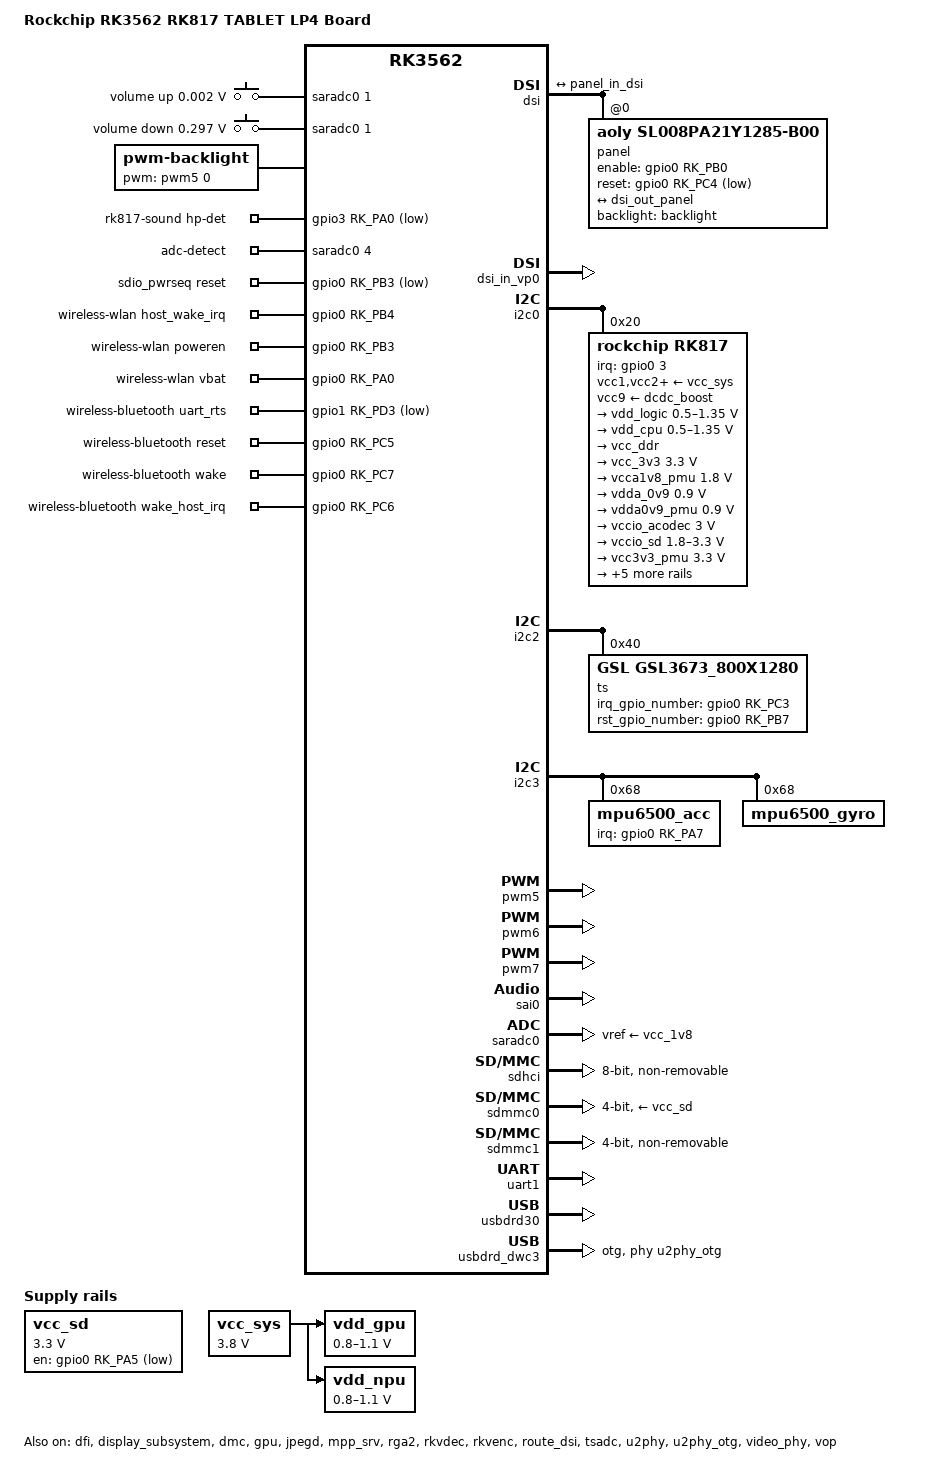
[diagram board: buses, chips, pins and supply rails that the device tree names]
// SPDX-License-Identifier: (GPL-2.0+ OR MIT)
/*
 * Copyright (c) 2022 Rockchip Electronics Co., Ltd.
 *
 */

/dts-v1/;

#include <dt-bindings/gpio/gpio.h>
#include <dt-bindings/pinctrl/rockchip.h>
#include <dt-bindings/input/rk-input.h>
#include <dt-bindings/sensor-dev.h>
#include <dt-bindings/display/drm_mipi_dsi.h>
#include "dt-bindings/usb/pd.h"
#include "rk3562.dtsi"
#include "rk3562-android.dtsi"
#include "rk3562-rk817-tablet-camera.dtsi"

/ {
	model = "Rockchip RK3562 RK817 TABLET LP4 Board";
	compatible = "rockchip,rk3562-rk817-tablet", "rockchip,rk3562";

	adc_keys: adc-keys {
		compatible = "adc-keys";
		io-channels = <&saradc0 1>;
		io-channel-names = "buttons";
		keyup-threshold-microvolt = <1800000>;
		poll-interval = <100>;

		vol-up-key {
			label = "volume up";
			linux,code = <KEY_VOLUMEUP>;
			press-threshold-microvolt = <1750>;
		};

		vol-down-key {
			label = "volume down";
			linux,code = <KEY_VOLUMEDOWN>;
			press-threshold-microvolt = <297500>;
		};
	};

	backlight: backlight {
		compatible = "pwm-backlight";
		pwms = <&pwm5 0 25000 0>;
		brightness-levels = <
			  0  20  20  21  21  22  22  23
			 23  24  24  25  25  26  26  27
			 27  28  28  29  29  30  30  31
			 31  32  32  33  33  34  34  35
			 35  36  36  37  37  38  38  39
			 40  41  42  43  44  45  46  47
			 48  49  50  50  51  52  53  54
			 55  55  56  57  58  59  60  61
			 62  63  64  64  65  65  66  67
			 68  69  70  71  71  72  73  74
			 75  76  77  78  79  79  80  81
			 82  83  84  85  86  86  87  88
			 89  90  91  92  93  94  94  95
			 96  97  98  99 100 101 101 102
			103 104 105 106 107 107 108 109
			110 111 112 113 114 115 115 116
			117 118 119 120 121 122 123 123
			124 125 126 127 128 129 130 130
			131 132 133 134 135 136 136 137
			138 139 140 141 142 143 143 144
			145 146 147 147 148 149 150 151
			152 153 154 155 156 156 157 158
			159 157 158 159 160 161 162 162
			163 164 165 166 167 168 169 169
			170 171 172 173 174 175 175 176
			177 178 179 180 181 182 182 183
			184 185 186 187 188 189 190 190
			191 192 193 194 195 196 197 197
			198 199 200 201 202 203 204 204
			205 206 207 208 209 209 210 211
			212 213 213 214 214 215 215 216
			216 217 217 218 218 219 219 220
		>;
		default-brightness-level = <200>;
	};

	charge-animation {
		compatible = "rockchip,uboot-charge";
		rockchip,uboot-charge-on = <1>;
		rockchip,android-charge-on = <0>;
		rockchip,uboot-low-power-voltage = <3350>;
		rockchip,screen-on-voltage = <3400>;
		status = "okay";
	};

	rk817-sound {
		compatible = "rockchip,multicodecs-card";
		rockchip,card-name = "rockchip-rk817";
		hp-det-gpio = <&gpio3 RK_PA0 GPIO_ACTIVE_LOW>;
		io-channels = <&saradc0 4>;
		io-channel-names = "adc-detect";
		keyup-threshold-microvolt = <1800000>;
		poll-interval = <100>;
		rockchip,format = "i2s";
		rockchip,mclk-fs = <256>;
		rockchip,cpu = <&sai0>;
		rockchip,codec = <&rk817_codec>;
		pinctrl-names = "default";
		pinctrl-0 = <&hp_det>;
		play-pause-key {
			label = "playpause";
			linux,code = <KEY_PLAYPAUSE>;
			press-threshold-microvolt = <2000>;
		};
	};

	sdio_pwrseq: sdio-pwrseq {
		compatible = "mmc-pwrseq-simple";
		clocks = <&rk817 1>;
		clock-names = "ext_clock";
		pinctrl-names = "default";
		pinctrl-0 = <&wifi_enable_h>;

		/*
		 * On the module itself this is one of these (depending
		 * on the actual card populated):
		 * - SDIO_RESET_L_WL_REG_ON
		 * - PDN (power down when low)
		 */
		post-power-on-delay-ms = <200>;
		reset-gpios = <&gpio0 RK_PB3 GPIO_ACTIVE_LOW>;
	};

	vcc_sd: vcc-sd {
		compatible = "regulator-gpio";
		enable-active-low;
		enable-gpio = <&gpio0 RK_PA5 GPIO_ACTIVE_LOW>;
		regulator-min-microvolt = <3300000>;
		regulator-max-microvolt = <3300000>;
		pinctrl-names = "default";
		pinctrl-0 = <&vcc_sd_h>;
		regulator-name = "vcc_sd";
		states = <3300000 0x0
			  3300000 0x1>;
	};

	vcc_sys: vcc-sys {
		compatible = "regulator-fixed";
		regulator-name = "vcc_sys";
		regulator-always-on;
		regulator-boot-on;
		regulator-min-microvolt = <3800000>;
		regulator-max-microvolt = <3800000>;
	};

	vdd_gpu: vdd-gpu {
		compatible = "pwm-regulator";
		pwms = <&pwm7 0 5000 1>;
		regulator-name = "vdd_gpu";
		regulator-min-microvolt = <800000>;
		regulator-max-microvolt = <1100000>;
		regulator-init-microvolt = <900000>;
		regulator-always-on;
		regulator-boot-on;
		regulator-settling-time-up-us = <250>;
		pwm-supply = <&vcc_sys>;
		status = "okay";
	};

	vdd_npu: vdd-npu {
		compatible = "pwm-regulator";
		pwms = <&pwm6 0 5000 1>;
		regulator-name = "vdd_npu";
		regulator-min-microvolt = <800000>;
		regulator-max-microvolt = <1100000>;
		regulator-init-microvolt = <900000>;
		regulator-always-on;
		regulator-boot-on;
		regulator-settling-time-up-us = <250>;
		pwm-supply = <&vcc_sys>;
		status = "okay";
	};

	wireless-wlan {
		compatible = "wlan-platdata";
		rockchip,grf = <&sys_grf>;
		wifi_chip_type = "ap6255";
		pinctrl-names = "default";
		pinctrl-0 = <&wifi_host_wake_irq>;
		WIFI,host_wake_irq = <&gpio0 RK_PB4 GPIO_ACTIVE_HIGH>;
		WIFI,poweren_gpio = <&gpio0 RK_PB3 GPIO_ACTIVE_HIGH>;
		WIFI,vbat_gpio = <&gpio0 RK_PA0 GPIO_ACTIVE_HIGH>;
		status = "okay";
	};

	wireless-bluetooth {
		compatible = "bluetooth-platdata";
		clocks = <&rk817 1>;
		clock-names = "ext_clock";
		//wifi-bt-power-toggle;
		uart_rts_gpios = <&gpio1 RK_PD3 GPIO_ACTIVE_LOW>;
		pinctrl-names = "default", "rts_gpio";
		pinctrl-0 = <&uart1m0_rtsn>;
		pinctrl-1 = <&uart1_gpios>;
		BT,reset_gpio    = <&gpio0 RK_PC5 GPIO_ACTIVE_HIGH>;
		BT,wake_gpio     = <&gpio0 RK_PC7 GPIO_ACTIVE_HIGH>;
		BT,wake_host_irq = <&gpio0 RK_PC6 GPIO_ACTIVE_HIGH>;
		status = "okay";
	};
};

&cpu0 {
	cpu-supply = <&vdd_cpu>;
};

&bus_soc {
	rockchip,soc-bus-table = <0 0x00a000a8 0x7001>,
				 <1 0x00a000a8 0x7c39>,
				 <2 0x00a000a8 0x7c39>,
				 <3 0x00a000a8 0x7c39>,
				 <4 0x00a000a5 0xb007>,
				 <5 0x00a000a8 0x7034>,
				 <6 0x00a000a8 0x7034>,
				 <7 0x00a000a8 0x7034>,
				 <8 0x00a000a8 0x7001>;
};

&dfi {
	status = "okay";
};

&display_subsystem {
	status = "okay";
};

&dmc {
	center-supply = <&vdd_logic>;
	status = "okay";
};

&dsi {
	status = "okay";

	panel@0 {
		compatible = "aoly,sl008pa21y1285-b00", "simple-panel-dsi";
		reg = <0>;

		backlight = <&backlight>;
		//power-supply=<&vcc_3v3>;
		enable-gpios = <&gpio0 RK_PB0 GPIO_ACTIVE_HIGH>;
		reset-gpios = <&gpio0 RK_PC4 GPIO_ACTIVE_LOW>;

		pinctrl-names = "default";
		pinctrl-0 = <&lcd_enable_gpio>, <&lcd_rst_gpio>;

		prepare-delay-ms = <20>;
		reset-delay-ms = <20>;
		init-delay-ms = <20>;
		enable-delay-ms = <120>;
		disable-delay-ms = <20>;
		unprepare-delay-ms = <20>;

		width-mm = <135>;
		height-mm = <216>;

		dsi,flags = <(MIPI_DSI_MODE_VIDEO | MIPI_DSI_MODE_VIDEO_BURST |
			      MIPI_DSI_MODE_LPM | MIPI_DSI_MODE_EOT_PACKET)>;
		dsi,format = <MIPI_DSI_FMT_RGB888>;
		dsi,lanes = <4>;

		panel-init-sequence = [
			15 00 02 E0 00
			//--- PASSWORD  ----//
			15 00 02 E1 93
			15 00 02 E2 65
			15 00 02 E3 F8
			15 00 02 80 03
			//--- Page1  ----//
			15 00 02 E0 01
			//Set VCOM
			15 00 02 00 00
			15 00 02 01 3B
			//Set VCOM_Reverse
			//15 00 02 03 00
			//15 00 02 04 A0
			15 00 02 0C 74
			//Set Gamma Power, VGMP,VGMN,VGSP,VGSN
			15 00 02 17 00
			15 00 02 18 AF  //VGMP=4.8V
			15 00 02 19 00  //VGSP=0.3V
			15 00 02 1A 00
			15 00 02 1B AF
			15 00 02 1C 00
			//SETPANEL
			15 00 02 35 26	//ASP=0110
			//SETPANEL
			15 00 02 37 09	//SS=1,BGR=1
			//SET RGBCYC
			15 00 02 38 04	//JDT=100 column inversion
			15 00 02 39 00	//RGB_N_EQ1, 0x12
			15 00 02 3A 01	//RGB_N_EQ2, 0x18
			15 00 02 3C 78	//SET EQ3 for TE_H
			15 00 02 3D FF	//SET CHGEN_ON,
			15 00 02 3E FF	//SET CHGEN_OFF,
			15 00 02 3F 7F	//SET CHGEN_OFF2,
			//Set TCON
			15 00 02 40 06	//RSO=800 RGB
			15 00 02 41 A0	//LN=640->1280 line
			15 00 02 42 81	//SLT
			15 00 02 43 14	//VFP=20
			15 00 02 44 23	//VBP=24
			15 00 02 45 28  //HBP=40
			//--- power voltage  ----//
			15 00 02 55 02	//DCDCM=0001, JD PWR_IC
			15 00 02 57 69
			15 00 02 59 0A	//VCL = -2.9V
			15 00 02 5A 2A	//VGH = 15V
			15 00 02 5B 17	//VGL = -11V
			//--- Gamma  ----//
			15 00 02 5D 7F
			15 00 02 5E 6B
			15 00 02 5F 5C
			15 00 02 60 4F
			15 00 02 61 4D
			15 00 02 62 3F
			15 00 02 63 42
			15 00 02 64 2B
			15 00 02 65 44
			15 00 02 66 43
			15 00 02 67 43
			15 00 02 68 63
			15 00 02 69 52
			15 00 02 6A 5A
			15 00 02 6B 4F
			15 00 02 6C 4E
			15 00 02 6D 20
			15 00 02 6E 0F
			15 00 02 6F 00
			15 00 02 70 7F
			15 00 02 71 6B
			15 00 02 72 5C
			15 00 02 73 4F
			15 00 02 74 4D
			15 00 02 75 3F
			15 00 02 76 42
			15 00 02 77 2B
			15 00 02 78 44
			15 00 02 79 43
			15 00 02 7A 43
			15 00 02 7B 63
			15 00 02 7C 52
			15 00 02 7D 5A
			15 00 02 7E 4F
			15 00 02 7F 4E
			15 00 02 80 20
			15 00 02 81 0F
			15 00 02 82 00
			//Page2, for GIP
			15 00 02 E0 02
			//GIP_L Pin mapping
			15 00 02 00 02  //STV3	->	STV2
			15 00 02 01 02	//Stv3	->	STV2
			15 00 02 02 00	//STV4	->	STV0
			15 00 02 03 00	//STV4	->	STV0
			15 00 02 04 1E	//VDS	->	VGH
			15 00 02 05 1E	//VDS	->	VGH
			15 00 02 06 1F	//VSD	->	VGL
			15 00 02 07 1F	//VSD	->	VGL
			15 00 02 08 1F
			15 00 02 09 17	//VDD2	->	FLM
			15 00 02 0A 17	//VDD2	->	FLM
			15 00 02 0B 37	//VDD1	->	INV_FLM
			15 00 02 0C 37	//VDD1	->	INV_FLM
			15 00 02 0D 47	//CLK8	->	CLK3
			15 00 02 0E 47	//CLK8	->	CLK3
			15 00 02 0F 45	//CLK6	->	CLK1
			15 00 02 10 45	//CLK6	->	CLK1
			15 00 02 11 4B	//CLK4	->	CLK7
			15 00 02 12 4B	//CLK4	->	CLK7
			15 00 02 13 49	//CLK2	->	CLK5
			15 00 02 14 49	//CLK2	->	CLK5
			15 00 02 15 1F	//VGL
			//GIP_R Pin mapping
			15 00 02 16 01	//STV1	->	STV1
			15 00 02 17 01	//STV1	->	STV1
			15 00 02 18 00	//STV2	->	STV0
			15 00 02 19 00	//STV2	->	STV0
			15 00 02 1A 1E	//VDS	->	VGH
			15 00 02 1B 1E	//VDS	->	VGH
			15 00 02 1C 1F	//VSD	->	VGL
			15 00 02 1D 1F	//VSD	->	VGL
			15 00 02 1E 1F
			15 00 02 1F 17	//VDD2	->	FLM
			15 00 02 20 17	//VDD2	->	FLM
			15 00 02 21 37	//VDD1	->	INV_FLM
			15 00 02 22 37	//VDD1	->	INV_FLM
			15 00 02 23 46	//CLK7	->	CLK2
			15 00 02 24 46	//CLK7	->	CLK2
			15 00 02 25 44	//CLK5	->	CLK0
			15 00 02 26 44	//CLK5	->	CLK0
			15 00 02 27 4A	//CLK3	->	CLK6
			15 00 02 28 4A	//CLK3	->	CLK6
			15 00 02 29 48	//CLK1	->	CLK4
			15 00 02 2A 48	//CLK1	->	CLK4
			15 00 02 2B 1F	//VGL
			//GIP_L_GS Pin mapping
			15 00 02 2C 01	//STV3	->	STV1
			15 00 02 2D 01
			15 00 02 2E 00	//STV4	->	STV0
			15 00 02 2F 00
			15 00 02 30 1F	//VDS	->	VGL
			15 00 02 31 1F
			15 00 02 32 1E	//VSD	->	VGH
			15 00 02 33 1E
			15 00 02 34 1F	//
			15 00 02 35 17	//VDD2	->	FLM
			15 00 02 36 17
			15 00 02 37 37	//VDD1	->	INV_FLM
			15 00 02 38 37
			15 00 02 39 08	//CLK8	->	CLK4
			15 00 02 3A 08
			15 00 02 3B 0A	//CLK6	->	CLK6
			15 00 02 3C 0A
			15 00 02 3D 04	//CLK4	->	CLK0
			15 00 02 3E 04
			15 00 02 3F 06	//CLK2	->	CLK2
			15 00 02 40 06
			15 00 02 41 1F	//VGL
			//GIP_R_GS Pin mapping
			15 00 02 42 02	//STV1	->	STV2
			15 00 02 43 02
			15 00 02 44 00	//STV2	->	STV0
			15 00 02 45 00
			15 00 02 46 1F	//VDS	->	VGL
			15 00 02 47 1F
			15 00 02 48 1E	//VSD	->	VGH
			15 00 02 49 1E
			15 00 02 4A 1F	//
			15 00 02 4B 17	//VDD2	->	FLM
			15 00 02 4C 17
			15 00 02 4D 37	//VDD1	->	INV_FLM
			15 00 02 4E 37
			15 00 02 4F 09	//CLK7	->	CLK5
			15 00 02 50 09
			15 00 02 51 0B	//CLK5	->	CLK7
			15 00 02 52 0B
			15 00 02 53 05	//CLK3	->	CLK1
			15 00 02 54 05
			15 00 02 55 07	//CLK1	->	CLK3
			15 00 02 56 07
			15 00 02 57 1F	//VGL
			//GIP Timing
			15 00 02 58 40
			15 00 02 5B 30  //STV_NUM,STV_S0
			15 00 02 5C 16  //STV_S0
			15 00 02 5D 34  //STV_W / S1
			15 00 02 5E 05  //STV_S2
			15 00 02 5F 02  //STV_S3
			15 00 02 63 00  //SETV_ON
			15 00 02 64 6A  //SETV_OFF
			15 00 02 67 73
			15 00 02 68 1D  //CKV_S0
			15 00 02 69 08
			15 00 02 6A 6A
			15 00 02 6B 08  //Dummy clk
			15 00 02 6C 00
			15 00 02 6D 00
			15 00 02 6E 00
			15 00 02 6F 88
			15 00 02 75 FF
			15 00 02 77 DD  //VEN_EN=1
			15 00 02 78 3F
			15 00 02 79 15  //0x0C
			15 00 02 7A 17  //VEN_S0
			15 00 02 7D 14  //VEN_ON
			15 00 02 7E 82  //VEN_OFF
			//Page4
			15 00 02 E0 04
			15 00 02 00 0E
			15 00 02 02 B3
			15 00 02 09 61
			15 00 02 0E 48
			//Page0
			15 00 02 E0 00
			15 00 02 E6 02
			15 00 02 E7 0C
			05 78 01 11
			05 64 01 29
		];

		panel-exit-sequence = [
			05 01 01 28
			05 03 01 10
		];

		display-timings {
			native-mode = <&timing0>;

			timing0: timing0 {
				clock-frequency = <70000000>;
				hactive = <800>;
				vactive = <1280>;

				hfront-porch = <40>;
				hsync-len = <20>;
				hback-porch = <20>;

				vfront-porch = <20>;
				vsync-len = <4>;
				vback-porch = <20>;

				hsync-active = <0>;
				vsync-active = <0>;
				de-active = <0>;
				pixelclk-active = <1>;
			};
		};

		ports {
			#address-cells = <1>;
			#size-cells = <0>;

			port@0 {
				reg = <0>;
				panel_in_dsi: endpoint {
					remote-endpoint = <&dsi_out_panel>;
				};
			};
		};
	};

	ports {
		#address-cells = <1>;
		#size-cells = <0>;

		port@1 {
			reg = <1>;
			dsi_out_panel: endpoint {
				remote-endpoint = <&panel_in_dsi>;
			};
		};
	};

};

&dsi_in_vp0 {
	status = "okay";
};

&gpu {
	mali-supply = <&vdd_gpu>;
	status = "okay";
};

&i2c0 {
	status = "okay";

	rk817: pmic@20 {
		compatible = "rockchip,rk817";
		reg = <0x20>;
		interrupt-parent = <&gpio0>;
		interrupts = <3 IRQ_TYPE_LEVEL_LOW>;

		pinctrl-names = "default", "pmic-sleep",
			"pmic-power-off", "pmic-reset";
		pinctrl-0 = <&pmic_int>;
		pinctrl-1 = <&soc_slppin_slp>, <&rk817_slppin_slp>;
		pinctrl-2 = <&soc_slppin_gpio>, <&rk817_slppin_pwrdn>;
		pinctrl-3 = <&soc_slppin_gpio>, <&rk817_slppin_rst>;
		rockchip,system-power-controller;
		wakeup-source;
		#clock-cells = <1>;
		clock-output-names = "rk808-clkout1", "rk808-clkout2";
		/* 1: rst regs (default in codes), 0: rst the pmic */
		pmic-reset-func = <0>;
		vcc1-supply = <&vcc_sys>;
		vcc2-supply = <&vcc_sys>;
		vcc3-supply = <&vcc_sys>;
		vcc4-supply = <&vcc_sys>;
		vcc5-supply = <&vcc_sys>;
		vcc6-supply = <&vcc_sys>;
		vcc7-supply = <&vcc_sys>;
		vcc8-supply = <&vcc_sys>;
		vcc9-supply = <&dcdc_boost>;
		pwrkey {
			status = "okay";
		};

		pinctrl_rk8xx: pinctrl_rk8xx {
			gpio-controller;
			#gpio-cells = <2>;

			rk817_slppin_null: rk817_slppin_null {
				pins = "gpio_slp";
				function = "pin_fun0";
			};

			rk817_slppin_slp: rk817_slppin_slp {
				pins = "gpio_slp";
				function = "pin_fun1";
			};

			rk817_slppin_pwrdn: rk817_slppin_pwrdn {
				pins = "gpio_slp";
				function = "pin_fun2";
			};

			rk817_slppin_rst: rk817_slppin_rst {
				pins = "gpio_slp";
				function = "pin_fun3";
			};
		};

		regulators {
			vdd_logic: DCDC_REG1 {
				regulator-always-on;
				regulator-boot-on;
				regulator-min-microvolt = <500000>;
				regulator-max-microvolt = <1350000>;
				regulator-init-microvolt = <900000>;
				regulator-ramp-delay = <6001>;
				regulator-initial-mode = <0x2>;
				regulator-name = "vdd_logic";
				regulator-state-mem {
					regulator-off-in-suspend;
					regulator-suspend-microvolt = <900000>;
				};
			};

			vdd_cpu: DCDC_REG2 {
				regulator-always-on;
				regulator-boot-on;
				regulator-min-microvolt = <500000>;
				regulator-max-microvolt = <1350000>;
				regulator-init-microvolt = <900000>;
				regulator-ramp-delay = <6001>;
				regulator-initial-mode = <0x2>;
				regulator-name = "vdd_cpu";
				regulator-state-mem {
					regulator-off-in-suspend;
				};
			};

			vcc_ddr: DCDC_REG3 {
				regulator-always-on;
				regulator-boot-on;
				regulator-initial-mode = <0x2>;
				regulator-name = "vcc_ddr";
				regulator-state-mem {
					regulator-on-in-suspend;
				};
			};

			vcc_3v3: DCDC_REG4 {
				regulator-always-on;
				regulator-boot-on;
				regulator-min-microvolt = <3300000>;
				regulator-max-microvolt = <3300000>;
				regulator-initial-mode = <0x2>;
				regulator-name = "vcc_3v3";
				regulator-state-mem {
					regulator-on-in-suspend;
					regulator-suspend-microvolt = <3300000>;
				};
			};

			vcca1v8_pmu: LDO_REG1 {
				regulator-always-on;
				regulator-boot-on;
				regulator-min-microvolt = <1800000>;
				regulator-max-microvolt = <1800000>;
				regulator-name = "vcca1v8_pmu";
				regulator-state-mem {
					regulator-on-in-suspend;
					regulator-suspend-microvolt = <1800000>;
				};
			};

			vdda_0v9: LDO_REG2 {
				regulator-always-on;
				regulator-boot-on;
				regulator-min-microvolt = <900000>;
				regulator-max-microvolt = <900000>;
				regulator-name = "vdda_0v9";
				regulator-state-mem {
					regulator-off-in-suspend;
				};
			};

			vdda0v9_pmu: LDO_REG3 {
				regulator-always-on;
				regulator-boot-on;
				regulator-min-microvolt = <900000>;
				regulator-max-microvolt = <900000>;
				regulator-name = "vdda0v9_pmu";
				regulator-state-mem {
					regulator-on-in-suspend;
					regulator-suspend-microvolt = <900000>;
				};
			};

			vccio_acodec: LDO_REG4 {
				regulator-always-on;
				regulator-boot-on;
				regulator-min-microvolt = <3000000>;
				regulator-max-microvolt = <3000000>;
				regulator-name = "vccio_acodec";
				regulator-state-mem {
					regulator-off-in-suspend;
				};
			};

			vccio_sd: LDO_REG5 {
				regulator-always-on;
				regulator-boot-on;
				regulator-min-microvolt = <1800000>;
				regulator-max-microvolt = <3300000>;
				regulator-name = "vccio_sd";
				regulator-state-mem {
					regulator-off-in-suspend;
				};
			};

			vcc3v3_pmu: LDO_REG6 {
				regulator-always-on;
				regulator-boot-on;
				regulator-min-microvolt = <3300000>;
				regulator-max-microvolt = <3300000>;
				regulator-name = "vcc3v3_pmu";
				regulator-state-mem {
					regulator-on-in-suspend;
					regulator-suspend-microvolt = <3000000>;
				};
			};

			vcc_1v8: LDO_REG7 {
				regulator-always-on;
				regulator-boot-on;
				regulator-min-microvolt = <1800000>;
				regulator-max-microvolt = <1800000>;
				regulator-name = "vcc_1v8";
				regulator-state-mem {
					regulator-off-in-suspend;
				};
			};

			vcc1v2_dvp: LDO_REG8 {
				regulator-min-microvolt = <1200000>;
				regulator-max-microvolt = <1200000>;
				regulator-name = "vcc1v2_dvp";
				regulator-state-mem {
					regulator-off-in-suspend;
				};
			};

			vcc2v8_dvp: LDO_REG9 {
				regulator-min-microvolt = <2800000>;
				regulator-max-microvolt = <2800000>;
				regulator-name = "vcc2v8_dvp";
				regulator-state-mem {
					regulator-off-in-suspend;
				};
			};

			dcdc_boost: BOOST {
				regulator-always-on;
				regulator-boot-on;
				regulator-min-microvolt = <5000000>;
				regulator-max-microvolt = <5400000>;
				regulator-name = "boost";
				regulator-state-mem {
					regulator-off-in-suspend;
				};
			};

			otg_switch: OTG_SWITCH {
				regulator-name = "otg_switch";
				regulator-state-mem {
					regulator-off-in-suspend;
				};
			};
		};

		battery {
			compatible = "rk817,battery";
			ocv_table = <3400 3671 3686 3712 3738 3756 3773
				     3787 3802 3819 3840 3868 3916 3959
				     3998 4041 4087 4138 4191 4247 4313>;
			design_capacity = <5780>;
			design_qmax = <6358>;
			bat_res = <100>;
			sleep_enter_current = <150>;
			sleep_exit_current = <180>;
			sleep_filter_current = <100>;
			power_off_thresd = <3400>;
			zero_algorithm_vol = <3950>;
			max_soc_offset = <60>;
			monitor_sec = <5>;
			sample_res = <10>;
			virtual_power = <0>;
		};

		charger {
			compatible = "rk817,charger";
			min_input_voltage = <4500>;
			max_input_current = <1500>;
			max_chrg_current = <2000>;
			max_chrg_voltage = <4350>;
			chrg_term_mode = <0>;
			chrg_finish_cur = <300>;
			virtual_power = <0>;
			dc_det_adc = <0>;
			extcon = <&u2phy>;
			gate_function_disable = <1>;
		};

		rk817_codec: codec {
			#sound-dai-cells = <0>;
			compatible = "rockchip,rk817-codec";
			clocks = <&mclkout_sai0>;
			clock-names = "mclk";
			assigned-clocks = <&mclkout_sai0>;
			assigned-clock-rates = <12288000>;
			pinctrl-names = "default";
			pinctrl-0 = <&i2s0m0_mclk>;
			hp-volume = <20>;
			spk-volume = <25>;
			use-ext-amplifier;
			spk-ctl-gpios = <&gpio0 RK_PA6 GPIO_ACTIVE_HIGH>;
			status = "okay";
		};
	};
};

&i2c2 {
	status = "okay";

	ts@40 {
		compatible = "GSL,GSL3673_800X1280";
		reg = <0x40>;
		irq_gpio_number = <&gpio0 RK_PC3 GPIO_ACTIVE_HIGH>;
		rst_gpio_number = <&gpio0 RK_PB7 GPIO_ACTIVE_HIGH>;
		pinctrl-names = "default";
		pinctrl-0 = <&tp_gpio>;
	};
};

&i2c3 {
	status = "okay";
	pinctrl-names = "default";
	pinctrl-0 = <&i2c3m1_xfer>;

	mpu6500_acc: mpu_acc@68 {
		compatible = "mpu6500_acc";
		reg = <0x68>;
		irq-gpio = <&gpio0 RK_PA7 IRQ_TYPE_EDGE_RISING>;
		irq_enable = <0>;
		poll_delay_ms = <30>;
		type = <SENSOR_TYPE_ACCEL>;
		layout = <5>;
	};

	mpu6500_gyro: mpu_gyro@68 {
		compatible = "mpu6500_gyro";
		reg = <0x68>;
		poll_delay_ms = <30>;
		type = <SENSOR_TYPE_GYROSCOPE>;
		layout = <5>;
	};
};

&jpegd {
	status = "okay";
};

&jpegd_mmu {
	status = "okay";
};

&mpp_srv {
	status = "okay";
};

&pinctrl {
	tp {
		tp_gpio: tp-gpio {
			rockchip,pins = <0 RK_PC3 RK_FUNC_GPIO &pcfg_pull_down>,
					<0 RK_PB7 RK_FUNC_GPIO &pcfg_pull_none>;
		};
	};

	headphone {
		hp_det: hp-det {
			rockchip,pins = <3 RK_PA0 RK_FUNC_GPIO &pcfg_pull_down>;
		};
	};

	lcd {
		lcd_rst_gpio: lcd-rst-gpio {
			rockchip,pins = <0 RK_PC4 RK_FUNC_GPIO &pcfg_pull_none>;
		};

		lcd_enable_gpio: lcd-enable-gpio {
			rockchip,pins = <0 RK_PB0 RK_FUNC_GPIO &pcfg_pull_none>;
		};
	};

	sdio-pwrseq {
		wifi_enable_h: wifi-enable-h {
			rockchip,pins = <0 RK_PB3 RK_FUNC_GPIO &pcfg_pull_none>;
		};
	};

	vcc_sd {
		vcc_sd_h: vcc-sd-h {
			rockchip,pins = <0 RK_PA5 RK_FUNC_GPIO &pcfg_pull_none>;
		};
	};

	wireless-wlan {
		wifi_host_wake_irq: wifi-host-wake-irq {
			rockchip,pins = <0 RK_PB4 RK_FUNC_GPIO &pcfg_pull_down>;
		};
	};

	wireless-bluetooth {
		uart1_gpios: uart1-gpios {
			rockchip,pins = <1 RK_PD3 RK_FUNC_GPIO &pcfg_pull_none>;
		};
	};
};

&pwm5 {
	status = "okay";
};

&pwm6 {
	status = "okay";
};

&pwm7 {
	status = "okay";
};

&rga2 {
	status = "okay";
};

&rga2_mmu {
	status = "okay";
};

&rkvdec {
	status = "okay";
};

&rkvdec_mmu {
	status = "okay";
};

&rkvenc {
	status = "okay";
};

&rkvenc_mmu {
	status = "okay";
};

&route_dsi {
	status = "okay";
};

&sai0 {
	status = "okay";
	pinctrl-names = "default";
	pinctrl-0 = <&i2s0m0_lrck
		     &i2s0m0_sclk
		     &i2s0m0_sdi0
		     &i2s0m0_sdo0>;
};

&saradc0 {
	status = "okay";
	vref-supply = <&vcc_1v8>;
};

&sdhci {
	bus-width = <8>;
	no-sdio;
	no-sd;
	non-removable;
	max-frequency = <200000000>;
	mmc-hs400-1_8v;
	mmc-hs400-enhanced-strobe;
	status = "okay";
};

&sdmmc0 {
	max-frequency = <200000000>;
	no-sdio;
	no-mmc;
	bus-width = <4>;
	cap-mmc-highspeed;
	cap-sd-highspeed;
	disable-wp;
	sd-uhs-sdr104;
	vmmc-supply = <&vcc_sd>;
	vqmmc-supply = <&vccio_sd>;
	pinctrl-names = "default";
	pinctrl-0 = <&sdmmc0_bus4 &sdmmc0_clk &sdmmc0_cmd &sdmmc0_det>;
	status = "okay";
};

&sdmmc1 {
	max-frequency = <200000000>;
	no-sd;
	no-mmc;
	bus-width = <4>;
	disable-wp;
	cap-sd-highspeed;
	cap-sdio-irq;
	keep-power-in-suspend;
	mmc-pwrseq = <&sdio_pwrseq>;
	non-removable;
	pinctrl-names = "default";
	pinctrl-0 = <&sdmmc1_bus4 &sdmmc1_cmd &sdmmc1_clk>;
	sd-uhs-sdr104;
	status = "okay";
};

&tsadc {
	status = "okay";
};

&u2phy {
	status = "okay";
};

&u2phy_otg {
	status = "okay";
	vbus-supply = <&otg_switch>;
};

&uart1 {
	status = "okay";
	pinctrl-names = "default";
	pinctrl-0 = <&uart1m0_xfer &uart1m0_ctsn>;
};

&usbdrd30 {
	status = "okay";
};

&usbdrd_dwc3 {
	status = "okay";

	dr_mode = "otg";
	extcon = <&u2phy>;
	maximum-speed = "high-speed";
	phys = <&u2phy_otg>;
	phy-names = "usb2-phy";
	snps,dis_u2_susphy_quirk;
	snps,usb2-lpm-disable;
};

&video_phy {
	status = "okay";
};

&vop {
	status = "okay";
};

&vop_mmu {
	status = "okay";
};
